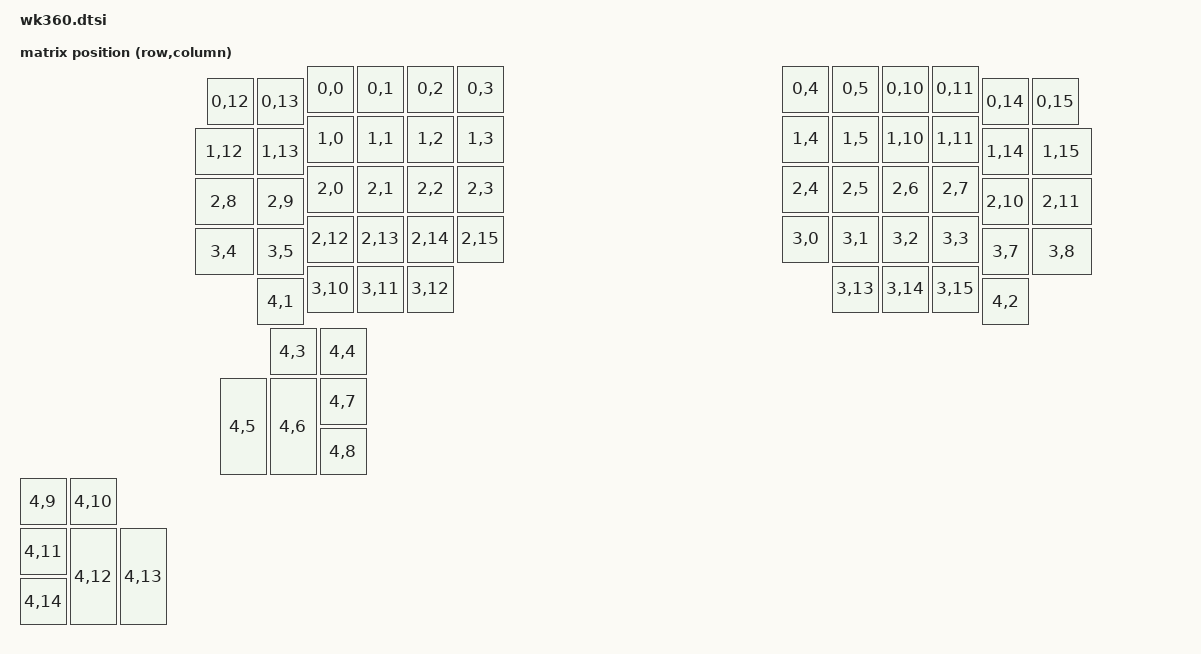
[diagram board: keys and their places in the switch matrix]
#include <dt-bindings/zmk/matrix_transform.h>

#include <physical_layouts.dtsi>

/ {
    wk360_layout: wk360_layout {
        compatible = "zmk,physical-layout";
        display-name = "wk360";

        kscan = <&kscan0>;
        transform = <&matrix_transform0>;

        keys  //                     w   h    x    y     rot    rx    ry
            = <&key_physical_attrs 100 100  575    0       0     0     0>
            , <&key_physical_attrs 100 100  675    0       0     0     0>
            , <&key_physical_attrs 100 100  775    0       0     0     0>
            , <&key_physical_attrs 100 100  875    0       0     0     0>
            , <&key_physical_attrs 100 100 1525    0       0     0     0>
            , <&key_physical_attrs 100 100 1625    0       0     0     0>
            , <&key_physical_attrs 100 100 1725    0       0     0     0>
            , <&key_physical_attrs 100 100 1825    0       0     0     0>
            , <&key_physical_attrs 100 100  375   25       0     0     0>
            , <&key_physical_attrs 100 100  475   25       0     0     0>
            , <&key_physical_attrs 100 100 1925   25       0     0     0>
            , <&key_physical_attrs 100 100 2025   25       0     0     0>
            , <&key_physical_attrs 100 100  575  100       0     0     0>
            , <&key_physical_attrs 100 100  675  100       0     0     0>
            , <&key_physical_attrs 100 100  775  100       0     0     0>
            , <&key_physical_attrs 100 100  875  100       0     0     0>
            , <&key_physical_attrs 100 100 1525  100       0     0     0>
            , <&key_physical_attrs 100 100 1625  100       0     0     0>
            , <&key_physical_attrs 100 100 1725  100       0     0     0>
            , <&key_physical_attrs 100 100 1825  100       0     0     0>
            , <&key_physical_attrs 125 100  350  125       0     0     0>
            , <&key_physical_attrs 100 100  475  125       0     0     0>
            , <&key_physical_attrs 100 100 1925  125       0     0     0>
            , <&key_physical_attrs 125 100 2025  125       0     0     0>
            , <&key_physical_attrs 100 100  575  200       0     0     0>
            , <&key_physical_attrs 100 100  675  200       0     0     0>
            , <&key_physical_attrs 100 100  775  200       0     0     0>
            , <&key_physical_attrs 100 100  875  200       0     0     0>
            , <&key_physical_attrs 100 100 1525  200       0     0     0>
            , <&key_physical_attrs 100 100 1625  200       0     0     0>
            , <&key_physical_attrs 100 100 1725  200       0     0     0>
            , <&key_physical_attrs 100 100 1825  200       0     0     0>
            , <&key_physical_attrs 125 100  350  225       0     0     0>
            , <&key_physical_attrs 100 100  475  225       0     0     0>
            , <&key_physical_attrs 100 100 1925  225       0     0     0>
            , <&key_physical_attrs 125 100 2025  225       0     0     0>
            , <&key_physical_attrs 100 100  575  300       0     0     0>
            , <&key_physical_attrs 100 100  675  300       0     0     0>
            , <&key_physical_attrs 100 100  775  300       0     0     0>
            , <&key_physical_attrs 100 100  875  300       0     0     0>
            , <&key_physical_attrs 100 100 1525  300       0     0     0>
            , <&key_physical_attrs 100 100 1625  300       0     0     0>
            , <&key_physical_attrs 100 100 1725  300       0     0     0>
            , <&key_physical_attrs 100 100 1825  300       0     0     0>
            , <&key_physical_attrs 125 100  350  325       0     0     0>
            , <&key_physical_attrs 100 100  475  325       0     0     0>
            , <&key_physical_attrs 100 100 1925  325       0     0     0>
            , <&key_physical_attrs 125 100 2025  325       0     0     0>
            , <&key_physical_attrs 100 100  575  400       0     0     0>
            , <&key_physical_attrs 100 100  675  400       0     0     0>
            , <&key_physical_attrs 100 100  775  400       0     0     0>
            , <&key_physical_attrs 100 100 1625  400       0     0     0>
            , <&key_physical_attrs 100 100 1725  400       0     0     0>
            , <&key_physical_attrs 100 100 1825  400       0     0     0>
            , <&key_physical_attrs 100 100  475  425       0     0     0>
            , <&key_physical_attrs 100 100 1925  425       0     0     0>
            , <&key_physical_attrs 100 100  500  525       0     0     0>
            , <&key_physical_attrs 100 100  600  525       0     0     0>
            , <&key_physical_attrs 100 200  400  625       0     0     0>
            , <&key_physical_attrs 100 200  500  625       0     0     0>
            , <&key_physical_attrs 100 100  600  625       0     0     0>
            , <&key_physical_attrs 100 100  600  725       0     0     0>
            , <&key_physical_attrs 100 100    0  825       0     0     0>
            , <&key_physical_attrs 100 100  100  825       0     0     0>
            , <&key_physical_attrs 100 100    0  925       0     0     0>
            , <&key_physical_attrs 100 200  100  925       0     0     0>
            , <&key_physical_attrs 100 200  200  925       0     0     0>
            , <&key_physical_attrs 100 100    0 1025       0     0     0>
            ;
    };
};


/ {
    chosen {
        zmk,kscan = &kscan0;
        // zmk,matrix_transform = &default_transform;
        zmk,physical-layouts = &wk360_layout;
    };

    default_transform: keymap_transform_0 {
        compatible = "zmk,matrix-transform";
        rows = <4>;
        columns = <8>;
        map = <
            RC(0,0) RC(0,1) RC(0,2) RC(0,3) RC(0,4) RC(0,5)                                                                      RC(0,10) RC(0,11) RC(0,12) RC(0,13) RC(0,14) RC(0,15)
            RC(1,0) RC(1,1) RC(1,2) RC(1,3) RC(1,4) RC(1,5)                                                                      RC(1,10) RC(1,11) RC(1,12) RC(1,13) RC(1,14) RC(1,15)
            RC(2,0) RC(2,1) RC(2,2) RC(2,3) RC(2,4) RC(2,5)     RC(2,6)         RC(2,7)            RC(2,8) RC(2,9)               RC(2,10) RC(2,11) RC(2,12) RC(2,13) RC(2,14) RC(2,15)
            RC(3,0) RC(3,1) RC(3,2) RC(3,3) RC(3,4) RC(3,5)                     RC(3,7)            RC(3,8)                       RC(3,10) RC(3,11) RC(3,12) RC(3,13) RC(3,14) RC(3,15)
                    RC(4,1) RC(4,2) RC(4,3) RC(4,4)             RC(4,5) RC(4,6) RC(4,7)            RC(4,8) RC(4,9) RC(4,10)               RC(4,11) RC(4,12) RC(4,13) RC(4,14)
        >;
    };

    kscan0: kscan_0 {
        compatible = "zmk,kscan-gpio-matrix";
        label = "KSCAN";
        diode-direction = "col2row";
    };

};

&wk360_layout {
        transform = <&default_transform>;
        kscan = <&kscan0>;
};

zephyr_udc0:&usbd{
    compatible="nordic,nrf-usbd";
    status="okay"
};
